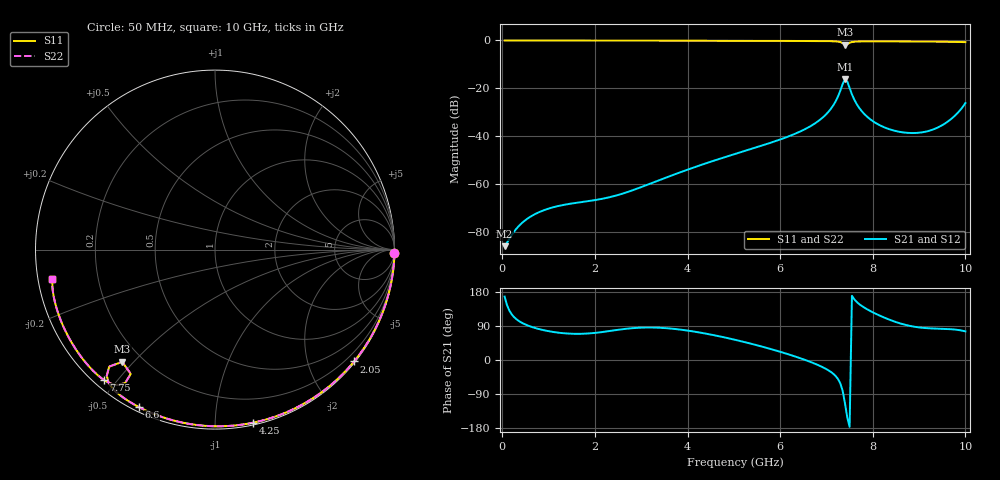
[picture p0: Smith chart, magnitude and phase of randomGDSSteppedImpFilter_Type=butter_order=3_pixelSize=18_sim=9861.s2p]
! freq	dB(S11)	phase(S11)	dB(S12)	phase(S12)
!  dB(S21)	phase(S21)	dB(S22)	phase(S22)
!S-par simulation data
#  GHz  S  DB  R 50
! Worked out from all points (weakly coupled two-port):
!   200 points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, 50 MHz to 10 GHz, reference 50 ohm
!   highest |S21| = -16.22 dB at 7.4 GHz (marker M1); lowest = -86.1 dB at 50 MHz (marker M2)
!   lowest |S11| = -1.8 dB at 7.4 GHz (marker M3), VSWR 9.60, Z = 6.35 - j23.2 ohm
!   |S11| at or under -10 dB: nowhere
!   |S22| runs from -1.8 to 0.0 dB; largest |S21 - S12| = 0
!   S11 on the Smith chart (normalised r, x): 50 MHz: open; 2.05 GHz: 0.03, -2.84; 4.25 GHz: 0.02, -1.24; 6.6 GHz: 0.02, -0.63; 7.75 GHz: 0.03, -0.46; 10 GHz: 0.04, -0.09
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0.05  -0.00 -1.0  -86.14 167.3  -86.14 167.3  -0.00 -1.0
0.25  -0.00 -4.8  -80.18 113.8  -80.18 113.8  -0.00 -4.8
0.55  -0.01 -10.6  -74.51 91.0  -74.51 91.0  -0.01 -10.6
0.9  -0.02 -17.3  -71.06 78.5  -71.06 78.5  -0.02 -17.3
1.75  -0.04 -33.3  -67.56 69.3  -67.56 69.3  -0.04 -33.3
2.05  -0.05 -38.8  -66.68 72.2  -66.68 72.2  -0.05 -38.8
3.4  -0.08 -63.0  -58.43 85.1  -58.43 85.1  -0.08 -63.0
4.25  -0.11 -77.6  -52.41 72.8  -52.41 72.8  -0.11 -77.6
5.05  -0.14 -90.8  -47.38 52.6  -47.38 52.6  -0.14 -90.8
6.6  -0.23 -115.8  -36.50 -2.6  -36.50 -2.6  -0.23 -115.8
6.7  -0.23 -117.5  -35.37 -7.3  -35.37 -7.3  -0.23 -117.5
7.1  -0.31 -124.9  -28.49 -31.9  -28.49 -31.9  -0.31 -124.9
7.3  -0.67 -130.6  -21.00 -62.0  -21.00 -62.0  -0.67 -130.7
7.4  -1.82 -129.6  -16.22 -114.6  -16.22 -114.6  -1.82 -129.6
7.5  -0.96 -124.0  -19.97 -176.5  -19.97 -176.5  -0.96 -124.0
7.75  -0.41 -130.5  -29.32 143.6  -29.32 143.6  -0.41 -130.5
8  -0.38 -135.1  -33.77 125.9  -33.77 125.9  -0.38 -135.1
8.35  -0.39 -140.9  -37.12 106.8  -37.12 106.8  -0.39 -140.9
8.85  -0.44 -149.0  -38.77 88.8  -38.77 88.8  -0.44 -149.0
9.25  -0.49 -155.5  -37.64 83.4  -37.64 83.4  -0.49 -155.5
9.65  -0.56 -162.4  -33.53 81.6  -33.53 81.6  -0.56 -162.4
10  -0.72 -169.7  -26.23 75.5  -26.23 75.5  -0.72 -169.7
